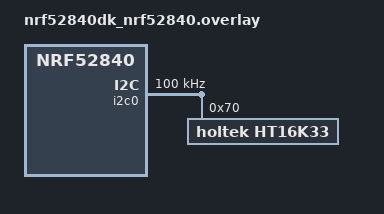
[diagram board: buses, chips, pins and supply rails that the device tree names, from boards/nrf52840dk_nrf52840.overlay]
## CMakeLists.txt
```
# SPDX-License-Identifier: Apache-2.0

cmake_minimum_required(VERSION 3.13.1)

find_package(Zephyr REQUIRED HINTS $ENV{ZEPHYR_BASE})
project(ht16k33)

FILE(GLOB app_sources src/*.c)
target_sources(app PRIVATE ${app_sources})
```

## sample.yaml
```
sample:
  description: Demonstration of the HT16K33 LED driver with keyscan
  name: HT16K33 sample
tests:
  sample.drivers.ht16k33:
    platform_allow: nrf52840dk_nrf52840
    harness: TBD
    tags: LED
```

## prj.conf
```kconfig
CONFIG_LOG=y
CONFIG_I2C=y
CONFIG_GPIO=y
CONFIG_LED=y
CONFIG_HT16K33=y
CONFIG_HT16K33_KEYSCAN=y
```

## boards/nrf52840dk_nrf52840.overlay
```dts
/*
 * Copyright (c) 2019 Henrik Brix Andersen <henrik@brixandersen.dk>
 *
 * SPDX-License-Identifier: Apache-2.0
 */

&i2c0 {
	clock-frequency = <I2C_BITRATE_STANDARD>;

	ht16k33@70 {
		compatible = "holtek,ht16k33";
		reg = <0x70>;
		label = "HT16K33";
                /* Uncomment to use IRQ instead of polling: */
		/* irq-gpios = <&gpio1 8 (GPIO_PULL_UP | GPIO_ACTIVE_LOW)>; */
		#address-cells = <1>;
		#size-cells = <0>;

		ks@0 {
			compatible = "holtek,ht16k33-keyscan";
			reg = <0x0>;
			label = "KS0";
		};
		ks@1 {
			compatible = "holtek,ht16k33-keyscan";
			reg = <0x1>;
			label = "KS1";
		};
		ks@2 {
			compatible = "holtek,ht16k33-keyscan";
			reg = <0x2>;
			label = "KS2";
		};
	};
};
```

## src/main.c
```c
/*
 * Copyright (c) 2019 Henrik Brix Andersen <henrik@brixandersen.dk>
 *
 * SPDX-License-Identifier: Apache-2.0
 */

#include <device.h>
#include <drivers/led.h>
#include <drivers/gpio.h>
#include <zephyr.h>

#define LOG_LEVEL CONFIG_LOG_DEFAULT_LEVEL
#include <logging/log.h>
LOG_MODULE_REGISTER(main);

#define LED_DEV_NAME DT_LABEL(DT_INST(0, holtek_ht16k33))
#define KS0_DEV_NAME DT_LABEL(DT_INST(0, holtek_ht16k33_keyscan))
#define KS1_DEV_NAME DT_LABEL(DT_INST(1, holtek_ht16k33_keyscan))
#define KS2_DEV_NAME DT_LABEL(DT_INST(2, holtek_ht16k33_keyscan))

#define KEYSCAN_DEVICES 3

const struct device *led_dev;
const struct device *ks_dev[KEYSCAN_DEVICES];
static struct gpio_callback ks_cb[KEYSCAN_DEVICES];

static void keyscan_callback(const struct device *gpiob,
			     struct gpio_callback *cb, uint32_t pins)
{
	LOG_INF("%s: 0x%08x", gpiob->name, pins);
}

void main(void)
{
	int err;
	int i;

	/* LED device binding */
	led_dev = device_get_binding(LED_DEV_NAME);
	if (!led_dev) {
		LOG_ERR("LED device %s not found", LED_DEV_NAME);
		return;
	}

	/* Keyscan device bindings */
	ks_dev[0] = device_get_binding(KS0_DEV_NAME);
	ks_dev[1] = device_get_binding(KS1_DEV_NAME);
	ks_dev[2] = device_get_binding(KS2_DEV_NAME);
	for (i = 0; i < ARRAY_SIZE(ks_dev); i++) {
		if (!ks_dev[i]) {
			LOG_ERR("KS%d device not found", i);
			return;
		}

		gpio_init_callback(&ks_cb[i], &keyscan_callback,
				   GENMASK(12, 0));

		err = gpio_add_callback(ks_dev[i], &ks_cb[i]);
		if (err) {
			LOG_ERR("Failed to add KS%d GPIO callback (err %d)", i,
				err);
			return;
		}
	}

	while (1) {
		LOG_INF("Iterating through all LEDs, turning them on "
			"one-by-one");
		for (i = 0; i < 128; i++) {
			led_on(led_dev, i);
			k_sleep(K_MSEC(100));
		}

		for (i = 500; i <= 2000; i *= 2) {
			LOG_INF("Blinking LEDs with a period of %d ms", i);
			led_blink(led_dev, 0, i / 2, i / 2);
			k_msleep(10 * i);
		}
		led_blink(led_dev, 0, 0, 0);

		for (i = 100; i >= 0; i -= 10) {
			LOG_INF("Setting LED brightness to %d%%", i);
			led_set_brightness(led_dev, 0, i);
			k_sleep(K_MSEC(1000));
		}

		LOG_INF("Turning all LEDs off and restoring 100%% brightness");
		for (i = 0; i < 128; i++) {
			led_off(led_dev, i);
		}
		led_set_brightness(led_dev, 0, 100);
	}
}
```
